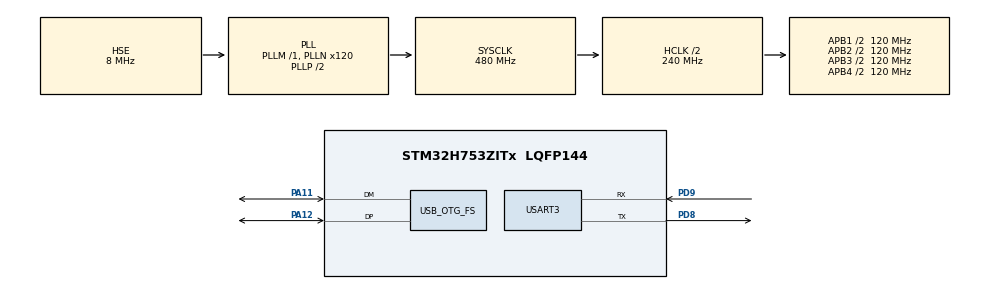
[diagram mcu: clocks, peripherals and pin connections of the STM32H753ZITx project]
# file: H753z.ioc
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CORTEX_M7.default_mode_Activation=1
Mcu.Family=STM32H7
Mcu.Name=STM32H753ZITx
Mcu.Package=LQFP144
NVIC.OTG_FS_IRQn=true\:0\:0\:false\:false\:true\:true\:true\:true
NVIC.PriorityGroup=NVIC_PRIORITYGROUP_4
PA11.Mode=Device_Only
PA11.Signal=USB_OTG_FS_DM
PA12.Mode=Device_Only
PA12.Signal=USB_OTG_FS_DP
PC14-OSC32_IN\ (OSC32_IN).Mode=LSE-External-Oscillator
PC14-OSC32_IN\ (OSC32_IN).Signal=RCC_OSC32_IN
PC15-OSC32_OUT\ (OSC32_OUT).Mode=LSE-External-Oscillator
PC15-OSC32_OUT\ (OSC32_OUT).Signal=RCC_OSC32_OUT
PD8.GPIO_PuPd=GPIO_PULLUP
PD8.Mode=Asynchronous
PD8.Signal=USART3_TX
PD9.GPIO_PuPd=GPIO_PULLUP
PD9.Mode=Asynchronous
PD9.Signal=USART3_RX
PH0-OSC_IN\ (PH0).Mode=HSE-External-Clock-Source
PH0-OSC_IN\ (PH0).Signal=RCC_OSC_IN
ProjectManager.HeapSize=0x200
ProjectManager.StackSize=0x400
ProjectManager.TargetToolchain=STM32CubeIDE
RCC.ADCFreq_Value=16125000
RCC.APB1Freq_Value=120000000
RCC.APB2Freq_Value=120000000
RCC.APB3Freq_Value=120000000
RCC.APB4Freq_Value=120000000
RCC.CortexFreq_Value=480000000
RCC.D1PPRE=RCC_APB3_DIV2
RCC.D2PPRE1=RCC_APB1_DIV2
RCC.D2PPRE2=RCC_APB2_DIV2
RCC.D3PPRE=RCC_APB4_DIV2
RCC.DIVM1=1
RCC.DIVN1=120
RCC.HCLKFreq_Value=240000000
RCC.HPRE=RCC_HCLK_DIV2
RCC.HSE_VALUE=8000000
RCC.PLL2FRACN=0
RCC.PLL3FRACN=0
RCC.PLLFRACN=0
RCC.PLLSourceVirtual=RCC_PLLSOURCE_HSE
RCC.RTCClockSelection=RCC_RTCCLKSOURCE_LSE
RCC.SYSCLKFreq_VALUE=480000000
RCC.SYSCLKSource=RCC_SYSCLKSOURCE_PLLCLK
RCC.USBCLockSelection=RCC_USBCLKSOURCE_HSI48
RCC.USBFreq_Value=48000000
USART3.VirtualMode-Asynchronous=VM_ASYNC
USB_DEVICE.CLASS_NAME_FS=CDC
USB_DEVICE.VirtualMode-CDC_FS=Cdc
USB_DEVICE.VirtualModeFS=Cdc_FS
USB_OTG_FS.VirtualMode=Device_Only
VP_MEMORYMAP_VS_MEMORYMAP.Mode=CurAppReg
VP_RTC_VS_RTC_Activate.Mode=RTC_Enabled
VP_USB_DEVICE_VS_USB_DEVICE_CDC_FS.Mode=CDC_FS
board=custom

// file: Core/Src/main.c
/* USER CODE BEGIN Header */
/**
  ******************************************************************************
  * @file           : main.c
  * @brief          : Main program body
  ******************************************************************************
  * @attention
  *
  * Copyright (c) 2025 STMicroelectronics.
  * All rights reserved.
  *
  * This software is licensed under terms that can be found in the LICENSE file
  * in the root directory of this software component.
  * If no LICENSE file comes with this software, it is provided AS-IS.
  *
  ******************************************************************************
  */
/* USER CODE END Header */
#include "main.h"
#include "usb_device.h"

/* USER CODE BEGIN Includes */
#include "stdio.h"
#include "usbd_custom.h"
/* USER CODE END Includes */

RTC_HandleTypeDef hrtc;

UART_HandleTypeDef huart3;

void SystemClock_Config(void);
static void MPU_Config(void);
static void MX_GPIO_Init(void);
static void MX_RTC_Init(void);
static void MX_USART3_UART_Init(void);

/* USER CODE BEGIN 0 */
#if defined(__GNUC__)
// ➤ GCC / STM32CubeIDE
int _write(int file, char *ptr, int len) {
    HAL_UART_Transmit(&huart3, (uint8_t*)ptr, len, HAL_MAX_DELAY);
    return len;
}

#elif defined(__CC_ARM)
// ➤ Keil MDK (armcc)
int fputc(int ch, FILE *f) {
    HAL_UART_Transmit(&huart3, (uint8_t*)&ch, 1, HAL_MAX_DELAY);
    return ch;
}

#elif defined(__ICCARM__)
// ➤ IAR Compiler
int __io_putchar(int ch) {
    HAL_UART_Transmit(&huart3, (uint8_t*)&ch, 1, HAL_MAX_DELAY);
    return ch;
}

int fputc(int ch, FILE *f) {
    return __io_putchar(ch);  // IAR 也可能走 fputc
}

#else
#warning "Unknown compiler. printf redirection not defined."
#endif
/* USER CODE END 0 */

int main(void)
{

  /* MPU Configuration--------------------------------------------------------*/
  MPU_Config();

  /* MCU Configuration--------------------------------------------------------*/

  /* Reset of all peripherals, Initializes the Flash interface and the Systick. */
  HAL_Init();

  /* Configure the system clock */
  SystemClock_Config();

  /* Initialize all configured peripherals */
  MX_GPIO_Init();
  MX_RTC_Init();
  MX_USART3_UART_Init();
  MX_USB_DEVICE_Init();

  /* Infinite loop */
  /* USER CODE BEGIN WHILE */
  while (1)
  {
	  HAL_Delay(1000);
	  printf("test\n");

//	  if (hUsbDeviceFS.dev_state == USBD_STATE_CONFIGURED)
//	  {
//	      int res = USBD_CUSTOM_SendData((uint8_t*)"HELLO", 5);
//	      printf("TX result: %d\r\n", res);
//	  }
    /* USER CODE END WHILE */

  }
}

void SystemClock_Config(void)
{
  RCC_OscInitTypeDef RCC_OscInitStruct = {0};
  RCC_ClkInitTypeDef RCC_ClkInitStruct = {0};

  /** Supply configuration update enable
  */
  HAL_PWREx_ConfigSupply(PWR_LDO_SUPPLY);

  /** Configure the main internal regulator output voltage
  */
  __HAL_PWR_VOLTAGESCALING_CONFIG(PWR_REGULATOR_VOLTAGE_SCALE0);

  while(!__HAL_PWR_GET_FLAG(PWR_FLAG_VOSRDY)) {}

  /** Configure LSE Drive Capability
  */
  HAL_PWR_EnableBkUpAccess();
  __HAL_RCC_LSEDRIVE_CONFIG(RCC_LSEDRIVE_LOW);

  /** Initializes the RCC Oscillators according to the specified parameters
  * in the RCC_OscInitTypeDef structure.
  */
  RCC_OscInitStruct.OscillatorType = RCC_OSCILLATORTYPE_HSI48|RCC_OSCILLATORTYPE_HSE
                              |RCC_OSCILLATORTYPE_LSE;
  RCC_OscInitStruct.HSEState = RCC_HSE_BYPASS;
  RCC_OscInitStruct.LSEState = RCC_LSE_ON;
  RCC_OscInitStruct.HSI48State = RCC_HSI48_ON;
  RCC_OscInitStruct.PLL.PLLState = RCC_PLL_ON;
  RCC_OscInitStruct.PLL.PLLSource = RCC_PLLSOURCE_HSE;
  RCC_OscInitStruct.PLL.PLLM = 1;
  RCC_OscInitStruct.PLL.PLLN = 120;
  RCC_OscInitStruct.PLL.PLLP = 2;
  RCC_OscInitStruct.PLL.PLLQ = 2;
  RCC_OscInitStruct.PLL.PLLR = 2;
  RCC_OscInitStruct.PLL.PLLRGE = RCC_PLL1VCIRANGE_3;
  RCC_OscInitStruct.PLL.PLLVCOSEL = RCC_PLL1VCOWIDE;
  RCC_OscInitStruct.PLL.PLLFRACN = 0;
  if (HAL_RCC_OscConfig(&RCC_OscInitStruct) != HAL_OK)
  {
    Error_Handler();
  }

  /** Initializes the CPU, AHB and APB buses clocks
  */
  RCC_ClkInitStruct.ClockType = RCC_CLOCKTYPE_HCLK|RCC_CLOCKTYPE_SYSCLK
                              |RCC_CLOCKTYPE_PCLK1|RCC_CLOCKTYPE_PCLK2
                              |RCC_CLOCKTYPE_D3PCLK1|RCC_CLOCKTYPE_D1PCLK1;
  RCC_ClkInitStruct.SYSCLKSource = RCC_SYSCLKSOURCE_PLLCLK;
  RCC_ClkInitStruct.SYSCLKDivider = RCC_SYSCLK_DIV1;
  RCC_ClkInitStruct.AHBCLKDivider = RCC_HCLK_DIV2;
  RCC_ClkInitStruct.APB3CLKDivider = RCC_APB3_DIV2;
  RCC_ClkInitStruct.APB1CLKDivider = RCC_APB1_DIV2;
  RCC_ClkInitStruct.APB2CLKDivider = RCC_APB2_DIV2;
  RCC_ClkInitStruct.APB4CLKDivider = RCC_APB4_DIV2;

  if (HAL_RCC_ClockConfig(&RCC_ClkInitStruct, FLASH_LATENCY_4) != HAL_OK)
  {
    Error_Handler();
  }
}

static void MX_RTC_Init(void)
{

  /** Initialize RTC Only
  */
  hrtc.Instance = RTC;
  hrtc.Init.HourFormat = RTC_HOURFORMAT_24;
  hrtc.Init.AsynchPrediv = 127;
  hrtc.Init.SynchPrediv = 255;
  hrtc.Init.OutPut = RTC_OUTPUT_DISABLE;
  hrtc.Init.OutPutPolarity = RTC_OUTPUT_POLARITY_HIGH;
  hrtc.Init.OutPutType = RTC_OUTPUT_TYPE_OPENDRAIN;
  hrtc.Init.OutPutRemap = RTC_OUTPUT_REMAP_NONE;
  if (HAL_RTC_Init(&hrtc) != HAL_OK)
  {
    Error_Handler();
  }

}

static void MX_USART3_UART_Init(void)
{

  huart3.Instance = USART3;
  huart3.Init.BaudRate = 115200;
  huart3.Init.WordLength = UART_WORDLENGTH_8B;
  huart3.Init.StopBits = UART_STOPBITS_1;
  huart3.Init.Parity = UART_PARITY_NONE;
  huart3.Init.Mode = UART_MODE_TX_RX;
  huart3.Init.HwFlowCtl = UART_HWCONTROL_NONE;
  huart3.Init.OverSampling = UART_OVERSAMPLING_16;
  huart3.Init.OneBitSampling = UART_ONE_BIT_SAMPLE_DISABLE;
  huart3.Init.ClockPrescaler = UART_PRESCALER_DIV1;
  huart3.AdvancedInit.AdvFeatureInit = UART_ADVFEATURE_NO_INIT;
  if (HAL_UART_Init(&huart3) != HAL_OK)
  {
    Error_Handler();
  }
  if (HAL_UARTEx_SetTxFifoThreshold(&huart3, UART_TXFIFO_THRESHOLD_1_8) != HAL_OK)
  {
    Error_Handler();
  }
  if (HAL_UARTEx_SetRxFifoThreshold(&huart3, UART_RXFIFO_THRESHOLD_1_8) != HAL_OK)
  {
    Error_Handler();
  }
  if (HAL_UARTEx_DisableFifoMode(&huart3) != HAL_OK)
  {
    Error_Handler();
  }

}

static void MX_GPIO_Init(void)
{

  /* GPIO Ports Clock Enable */
  __HAL_RCC_GPIOC_CLK_ENABLE();
  __HAL_RCC_GPIOH_CLK_ENABLE();
  __HAL_RCC_GPIOD_CLK_ENABLE();
  __HAL_RCC_GPIOA_CLK_ENABLE();

}

 /* MPU Configuration */

void MPU_Config(void)
{
  MPU_Region_InitTypeDef MPU_InitStruct = {0};

  /* Disables the MPU */
  HAL_MPU_Disable();

  /** Initializes and configures the Region and the memory to be protected
  */
  MPU_InitStruct.Enable = MPU_REGION_ENABLE;
  MPU_InitStruct.Number = MPU_REGION_NUMBER0;
  MPU_InitStruct.BaseAddress = 0x0;
  MPU_InitStruct.Size = MPU_REGION_SIZE_4GB;
  MPU_InitStruct.SubRegionDisable = 0x87;
  MPU_InitStruct.TypeExtField = MPU_TEX_LEVEL0;
  MPU_InitStruct.AccessPermission = MPU_REGION_NO_ACCESS;
  MPU_InitStruct.DisableExec = MPU_INSTRUCTION_ACCESS_DISABLE;
  MPU_InitStruct.IsShareable = MPU_ACCESS_SHAREABLE;
  MPU_InitStruct.IsCacheable = MPU_ACCESS_NOT_CACHEABLE;
  MPU_InitStruct.IsBufferable = MPU_ACCESS_NOT_BUFFERABLE;

  HAL_MPU_ConfigRegion(&MPU_InitStruct);
  /* Enables the MPU */
  HAL_MPU_Enable(MPU_PRIVILEGED_DEFAULT);

}

void Error_Handler(void)
{
  __disable_irq();
  while (1)
  {
  }
}
